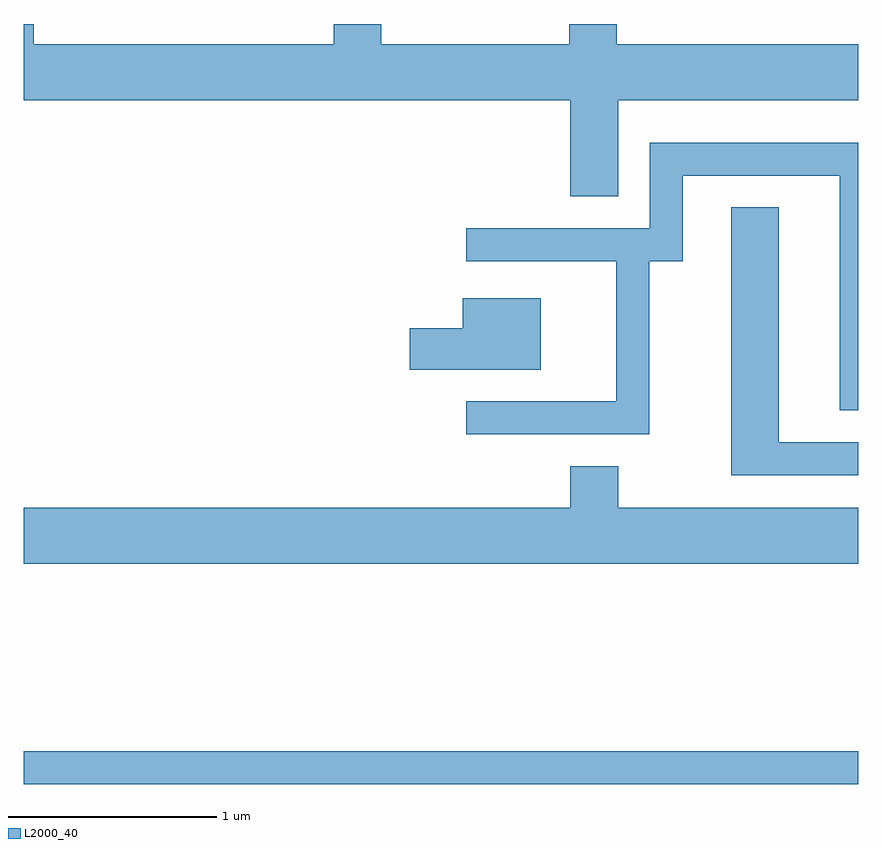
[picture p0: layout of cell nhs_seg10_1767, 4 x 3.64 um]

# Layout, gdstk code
import gdstk
lib = gdstk.Library(unit=1e-6, precision=1e-09)
def R(c, l, rs):  # rectangles x0, y0, x1, y1
    for r in rs: c.add(gdstk.rectangle(r[:2], r[2:], *l))
def P(c, l, *ps):  # polygons
    for p in ps: c.add(gdstk.Polygon(p, *l))
L2000_40 = (2000, 40)

nhs_seg10_1767 = lib.new_cell('nhs_seg10_1767')
R(nhs_seg10_1767, L2000_40, [(237.611,2092.881,241.611,2093.039)])
P(nhs_seg10_1767, L2000_40, [(240.459,2096.156),(241.611,2096.156),(241.611,2096.424),(240.454,2096.424),(240.454,2096.522),(240.226,2096.522),(240.226,2096.424),(239.324,2096.424),(239.324,2096.522),(239.096,2096.522),(239.096,2096.424),(237.659,2096.424),(237.659,2096.522),(237.611,2096.522),(237.611,2096.156),(240.231,2096.156),(240.231,2095.696),(240.459,2095.696)],
  [(240.609,2095.386),(240.769,2095.386),(240.769,2095.796),(241.521,2095.796),(241.521,2094.671),(241.611,2094.671),(241.611,2095.954),(240.611,2095.954),(240.611,2095.544),(239.733,2095.544),(239.733,2095.386),(240.451,2095.386),(240.451,2094.714),(239.733,2094.714),(239.733,2094.556),(240.609,2094.556)],
  [(241.611,2094.519),(241.229,2094.519),(241.229,2095.644),(241.001,2095.644),(241.001,2094.361),(241.611,2094.361)],
  [(240.089,2095.209),(239.716,2095.209),(239.716,2095.064),(239.461,2095.064),(239.461,2094.866),(240.089,2094.866)],
  [(241.611,2094.204),(240.459,2094.204),(240.459,2094.404),(240.231,2094.404),(240.231,2094.204),(237.611,2094.204),(237.611,2093.936),(241.611,2093.936)])

lib.write_gds('nhs_seg10_1767.gds')
